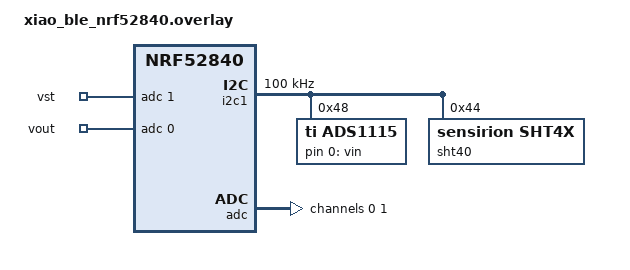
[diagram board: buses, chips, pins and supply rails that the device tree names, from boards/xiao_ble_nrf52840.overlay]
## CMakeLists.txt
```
#
# Copyright (c) 2025 Nordic Semiconductor ASA
#
# SPDX-License-Identifier: LicenseRef-Nordic-5-Clause
#

cmake_minimum_required(VERSION 3.20.0)
find_package(Zephyr REQUIRED HINTS $ENV{ZEPHYR_BASE})
project(teg_scheduler)

target_sources(app PRIVATE src/main.c src/ble_output.c)
```

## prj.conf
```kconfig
CONFIG_ADC=y
# SHT40 and ADS1115 are read directly over I2C in main.c (no sensor drivers).
CONFIG_I2C=y

# Phone-facing Nordic UART Service for USB-powered integration tests.
CONFIG_BT=y
CONFIG_BT_PERIPHERAL=y
CONFIG_BT_DEVICE_NAME="TEG_XIAO"
CONFIG_BT_MAX_CONN=1
CONFIG_BT_NUS=y
CONFIG_BT_L2CAP_TX_MTU=247
CONFIG_BT_BUF_ACL_RX_SIZE=251
CONFIG_BT_BUF_ACL_TX_SIZE=251
CONFIG_MAIN_STACK_SIZE=2048
CONFIG_SYSTEM_WORKQUEUE_STACK_SIZE=2048

# Send printf output to the XIAO USB-C port.
CONFIG_USB_DEVICE_STACK_NEXT=y
CONFIG_CDC_ACM_SERIAL_INITIALIZE_AT_BOOT=y
CONFIG_SERIAL=y
CONFIG_CONSOLE=y
CONFIG_UART_CONSOLE=y
CONFIG_STDOUT_CONSOLE=y
CONFIG_UART_LINE_CTRL=y
CONFIG_BOOT_BANNER=n

# Floating-point voltage values in CSV output.
CONFIG_PICOLIBC=y
CONFIG_PICOLIBC_IO_FLOAT=y
```

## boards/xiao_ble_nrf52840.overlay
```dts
#include <zephyr/dt-bindings/adc/adc.h>
#include <zephyr/dt-bindings/adc/nrf-saadc.h>
#include <zephyr/dt-bindings/i2c/i2c.h>

/ {
	zephyr,user {
		io-channels = <&adc 1>, <&adc 0>, <&ads1115 0>;
		io-channel-names = "vst", "vout", "vin";
	};
};

&i2c1 {
	status = "okay";
	clock-frequency = <I2C_BITRATE_STANDARD>;

	ads1115: adc@48 {
		compatible = "ti,ads1115";
		reg = <0x48>;
		#io-channel-cells = <1>;
		#address-cells = <1>;
		#size-cells = <0>;

		channel@0 {
			reg = <0>;
			zephyr,gain = "ADC_GAIN_8";
			zephyr,reference = "ADC_REF_INTERNAL";
			zephyr,acquisition-time = <ADC_ACQ_TIME_DEFAULT>;
			zephyr,input-positive = <0>;
			/* Single-ended ADS1115 uses 15 positive bits, +/-256 mV range. */
			zephyr,resolution = <15>;
		};
	};

	sht40: sht40@44 {
		compatible = "sensirion,sht4x";
		reg = <0x44>;
		repeatability = <2>;
	};
};

&adc {
	status = "okay";
	#address-cells = <1>;
	#size-cells = <0>;

	channel@0 {
		reg = <0>;
		zephyr,gain = "ADC_GAIN_1_6";
		zephyr,reference = "ADC_REF_INTERNAL";
		/* Longer acquisition for the high-resistance voltage divider. */
		zephyr,acquisition-time = <ADC_ACQ_TIME(ADC_ACQ_TIME_MICROSECONDS, 40)>;
		/* XIAO D0/A0 = P0.02 = SAADC AIN0, not GPIO P0.00. */
		zephyr,input-positive = <NRF_SAADC_AIN0>;
		zephyr,resolution = <12>;
	};

	channel@1 {
		reg = <1>;
		zephyr,gain = "ADC_GAIN_1_6";
		zephyr,reference = "ADC_REF_INTERNAL";
		zephyr,acquisition-time = <ADC_ACQ_TIME(ADC_ACQ_TIME_MICROSECONDS, 40)>;
		/* XIAO D1/A1 = P0.03 = SAADC AIN1. */
		zephyr,input-positive = <NRF_SAADC_AIN1>;
		zephyr,resolution = <12>;
	};
};
```

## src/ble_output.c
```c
/* SPDX-License-Identifier: Apache-2.0 */

#include "ble_output.h"

#include <errno.h>
#include <stdio.h>
#include <string.h>
#include <bluetooth/services/nus.h>
#include <zephyr/bluetooth/bluetooth.h>
#include <zephyr/kernel.h>
#include <zephyr/sys/atomic.h>

/* The connected receiver, or NULL. phone and full_row are shared with the Bluetooth
 * callbacks, so they are only touched while holding phone_lock. */
static struct bt_conn *phone;
static bool full_row;
static atomic_t notifications_enabled;
K_MUTEX_DEFINE(phone_lock);

static const struct bt_data advertising_data[] = {
	BT_DATA_BYTES(BT_DATA_FLAGS, BT_LE_AD_GENERAL | BT_LE_AD_NO_BREDR),
	BT_DATA_BYTES(BT_DATA_UUID128_ALL, BT_UUID_NUS_VAL),
};
static const struct bt_data scan_response[] = {
	BT_DATA(BT_DATA_NAME_COMPLETE, CONFIG_BT_DEVICE_NAME,
		sizeof(CONFIG_BT_DEVICE_NAME) - 1),
};

static int start_advertising(void)
{
	return bt_le_adv_start(BT_LE_ADV_CONN_FAST_1,
		advertising_data, ARRAY_SIZE(advertising_data),
		scan_response, ARRAY_SIZE(scan_response));
}

static void restart_advertising(struct k_work *work)
{
	ARG_UNUSED(work);
	int ret = start_advertising();

	if (ret < 0) {
		printf("# BLE advertising failed: %d\n", ret);
	}
}

K_WORK_DEFINE(advertising_work, restart_advertising);

static void connected(struct bt_conn *conn, uint8_t error)
{
	if (error) {
		return;
	}
	k_mutex_lock(&phone_lock, K_FOREVER);
	phone = bt_conn_ref(conn);
	full_row = false; /* Each new connection starts with the short row. */
	k_mutex_unlock(&phone_lock);
}

static void disconnected(struct bt_conn *conn, uint8_t reason)
{
	ARG_UNUSED(reason);
	atomic_clear(&notifications_enabled);
	k_mutex_lock(&phone_lock, K_FOREVER);
	if (phone == conn) {
		bt_conn_unref(phone);
		phone = NULL;
	}
	k_mutex_unlock(&phone_lock);
}

static void recycled(void)
{
	/* Advertise again only after the previous connection has been released. */
	k_work_submit(&advertising_work);
}

BT_CONN_CB_DEFINE(connection_callbacks) = {
	.connected = connected,
	.disconnected = disconnected,
	.recycled = recycled,
};

static void subscription_changed(enum bt_nus_send_status status)
{
	atomic_set(&notifications_enabled, status == BT_NUS_SEND_STATUS_ENABLED);
}

/* A write of exactly "csv" to NUS RX switches this connection to the full row. */
static void receive_command(struct bt_conn *conn, const uint8_t *data, uint16_t length)
{
	if (length != 3 || memcmp(data, "csv", 3) != 0) {
		return;
	}
	k_mutex_lock(&phone_lock, K_FOREVER);
	if (phone == conn) {
		full_row = true;
	}
	k_mutex_unlock(&phone_lock);
}

int ble_output_init(void)
{
	static struct bt_nus_cb callbacks = {
		.received = receive_command,
		.send_enabled = subscription_changed,
	};
	int ret = bt_nus_init(&callbacks);

	if (ret < 0) {
		return ret;
	}
	ret = bt_enable(NULL);
	if (ret < 0) {
		return ret;
	}
	return start_advertising();
}

bool ble_output_full_row_requested(void)
{
	k_mutex_lock(&phone_lock, K_FOREVER);
	bool requested = phone != NULL && full_row;
	k_mutex_unlock(&phone_lock);
	return requested;
}

int ble_output_send(const char *row, size_t length)
{
	if (!atomic_get(&notifications_enabled)) {
		return -ENOTCONN;
	}
	k_mutex_lock(&phone_lock, K_FOREVER);
	struct bt_conn *conn = phone ? bt_conn_ref(phone) : NULL;
	k_mutex_unlock(&phone_lock);
	if (conn == NULL) {
		return -ENOTCONN;
	}

	/* A notification can carry at most one MTU of data (20 bytes by default), so
	 * longer rows go out in pieces. The receiver joins them up to the newline. */
	size_t chunk_limit = bt_nus_get_mtu(conn);
	int ret = 0;

	while (length > 0) {
		size_t chunk_size = MIN(length, chunk_limit);

		ret = bt_nus_send(conn, (const uint8_t *)row, chunk_size);
		if (ret < 0) {
			break;
		}
		row += chunk_size;
		length -= chunk_size;
	}
	bt_conn_unref(conn);
	return ret;
}
```

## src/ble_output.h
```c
/* SPDX-License-Identifier: Apache-2.0 */

/*
 * BLE output over the Nordic UART Service (NUS).
 *
 * The XIAO advertises as TEG_XIAO and accepts one connection. Each CSV row is sent
 * as notifications on the NUS TX characteristic. By default a row has only the
 * measurement columns. A receiver that writes "csv" to the NUS RX characteristic
 * gets the full row (measurement + controller columns) for the rest of that
 * connection; tools/capture_ble_csv.py --full does this.
 */

#ifndef TEG_BLE_OUTPUT_H
#define TEG_BLE_OUTPUT_H

#include <stdbool.h>
#include <stddef.h>

/* Start Bluetooth and advertising. Returns 0 or a negative error code. */
int ble_output_init(void);

/* True while a connected receiver has asked for the full row. */
bool ble_output_full_row_requested(void);

/* Send one newline-terminated CSV row. Returns 0, -ENOTCONN when no receiver is
 * subscribed, or another negative error code. */
int ble_output_send(const char *row, size_t length);

#endif
```
